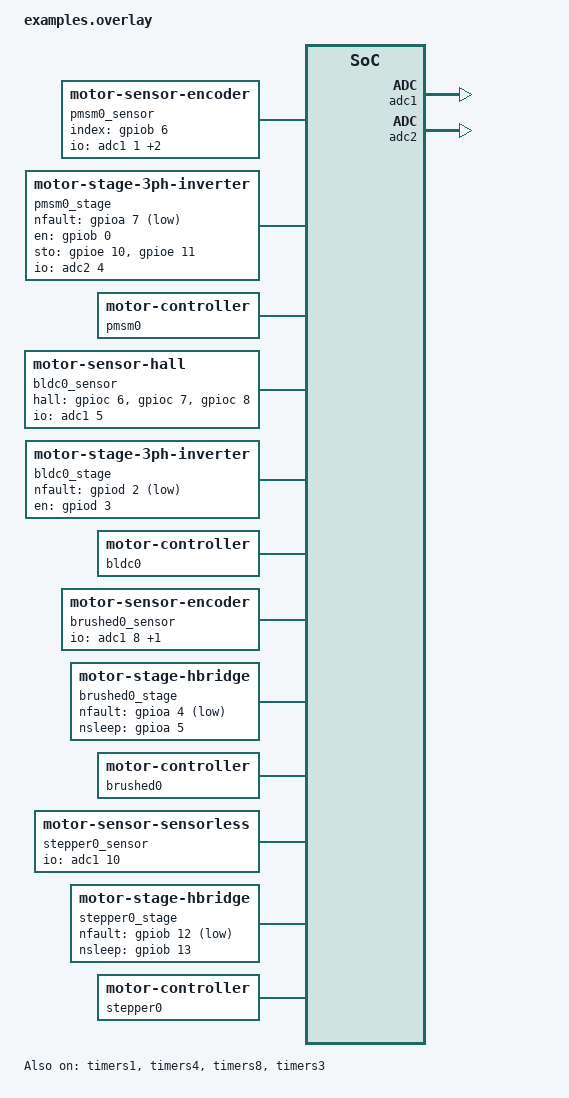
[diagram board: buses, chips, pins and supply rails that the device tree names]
/*
 * Copyright (c) 2026 Zephyr Motor Control Contributors
 * SPDX-License-Identifier: Apache-2.0
 *
 * Motor control DTS overlay examples
 * ===================================
 * Four complete hardware configurations demonstrating the
 * sensor + stage + controller node hierarchy:
 *
 *   Example 1 — PMSM FOC,        STM32G474,  quad encoder,  3-shunt ADC
 *   Example 2 — BLDC 6-step/FOC, STM32G474,  Hall × 3,      DC-link shunt
 *   Example 3 — DC brushed,      STM32G031,  quad encoder,  1-shunt ADC
 *   Example 4 — Stepper,         STM32F405,  step counter,  StallGuard
 */

/* ================================================================
 * Example 1 — PMSM FOC, STM32G474
 *   Sensor  : quadrature encoder TIM4, 3-shunt ADC1 HW-triggered
 *   Stage   : TIM1 3-phase complementary PWM, DRV8353 gate driver
 *   Algorithm: foc, 4 pole pairs, 20 kHz current loop
 * ================================================================ */
/ {
	pmsm0_sensor: motor-sensor-pmsm0 {
		compatible = "zephyr,motor-sensor-encoder";
		status     = "okay";

		encoder-timer = <&timers4>;
		encoder-cpr   = <4096>;       /* 1024 CPR × 4 quadrature   */
		pole-pairs    = <4>;

		index-gpio    = <&gpiob 6 GPIO_ACTIVE_HIGH>;

		io-channels      = <&adc1 1>, <&adc1 2>, <&adc1 3>;
		io-channel-names = "i_phase_a", "i_phase_b", "i_phase_c";

		/* STM32G4: TIM1 update event → ADC1 injected group trigger */
		adc-trigger-event = <0x00000001>;
	};

	pmsm0_stage: motor-stage-pmsm0 {
		compatible = "zephyr,motor-stage-3ph-inverter";
		status     = "okay";

		pwm-u = <&timers1>;           /* TIM1 CH1 / CH1N — phase U */
		pwm-v = <&timers1>;           /* TIM1 CH2 / CH2N — phase V */
		pwm-w = <&timers1>;           /* TIM1 CH3 / CH3N — phase W */

		pwm-frequency       = <20000>;
		deadtime-rising-ns  = <500>;
		deadtime-falling-ns = <500>;

		nfault-gpios = <&gpioa 7 (GPIO_ACTIVE_LOW  | GPIO_PULL_UP)>;
		en-gpios     = <&gpiob 0 GPIO_ACTIVE_HIGH>;
		sto-gpios    = <&gpioe 10 GPIO_ACTIVE_HIGH>,
		               <&gpioe 11 GPIO_ACTIVE_HIGH>;

		io-channels      = <&adc2 4>;
		io-channel-names = "v_bus";

		vbus-nominal-mv   = <24000>;
		vbus-ov-thresh-mv = <30000>;
		vbus-uv-thresh-mv = <18000>;
		i-peak-limit-ma   = <15000>;
	};

	pmsm0: motor-controller-pmsm0 {
		compatible = "zephyr,motor-controller";
		status     = "okay";

		sensor   = <&pmsm0_sensor>;
		actuator = <&pmsm0_stage>;

		algorithm  = "foc";
		pole-pairs = <4>;

		current-loop-rate-hz  = <20000>;
		speed-loop-rate-hz    = <1000>;
		position-loop-rate-hz = <200>;
		supervision-rate-hz   = <50>;

		i-max-ma              = <10000>;
		speed-max-rpm         = <3000>;
		temp-derating-start-dc = <8000>;
		temp-fault-dc          = <10000>;

		rs-mohm          = <85>;      /* 85 mΩ stator resistance   */
		ld-uh            = <540>;     /* 540 µH d-axis inductance  */
		lq-uh            = <620>;     /* 620 µH q-axis inductance  */
		flux-linkage-uwb = <12500>;   /* 12.5 mWb PM flux linkage  */
		pole-pairs       = <4>;

		settings-key = "motor/pmsm0";
	};
};

&timers1 {
	status = "okay";
	st,prescaler = <0>;
};

&timers4 {
	status = "okay";
	st,prescaler = <0>;
};

&adc1 {
	status = "okay";
	#io-channel-cells = <1>;
};

&adc2 {
	status = "okay";
	#io-channel-cells = <1>;
};


/* ================================================================
 * Example 2 — BLDC FOC with Hall sensors, STM32G474
 *   Sensor  : Hall × 3 on GPIOC[6:8], DC-link single shunt ADC1
 *   Stage   : TIM8 3-phase complementary PWM, DRV8302
 *   Algorithm: foc (or "6step" for trapezoidal), 7 pole pairs
 * ================================================================ */
/ {
	bldc0_sensor: motor-sensor-bldc0 {
		compatible = "zephyr,motor-sensor-hall";
		status     = "okay";

		hall-gpios = <&gpioc 6 GPIO_ACTIVE_HIGH>,   /* H_U */
		             <&gpioc 7 GPIO_ACTIVE_HIGH>,   /* H_V */
		             <&gpioc 8 GPIO_ACTIVE_HIGH>;   /* H_W */
		pole-pairs = <7>;

		io-channels      = <&adc1 5>;
		io-channel-names = "i_phase_a"; /* single shunt, Ib/Ic reconstructed */
		adc-trigger-event = <0x00000002>; /* TIM8_TRGO */
	};

	bldc0_stage: motor-stage-bldc0 {
		compatible = "zephyr,motor-stage-3ph-inverter";
		status     = "okay";

		pwm-u = <&timers8>;
		pwm-v = <&timers8>;
		pwm-w = <&timers8>;

		pwm-frequency       = <16000>;
		deadtime-rising-ns  = <750>;
		deadtime-falling-ns = <750>;

		nfault-gpios = <&gpiod 2 (GPIO_ACTIVE_LOW | GPIO_PULL_UP)>;
		en-gpios     = <&gpiod 3 GPIO_ACTIVE_HIGH>;

		vbus-nominal-mv   = <24000>;
		vbus-ov-thresh-mv = <30000>;
		vbus-uv-thresh-mv = <18000>;
		i-peak-limit-ma   = <20000>;
	};

	bldc0: motor-controller-bldc0 {
		compatible = "zephyr,motor-controller";
		status     = "okay";

		sensor   = <&bldc0_sensor>;
		actuator = <&bldc0_stage>;

		algorithm  = "foc";         /* change to "6step" for trapezoidal */
		pole-pairs = <7>;

		current-loop-rate-hz  = <16000>;
		speed-loop-rate-hz    = <1000>;
		position-loop-rate-hz = <0>;    /* disabled — speed mode only */
		supervision-rate-hz   = <50>;

		i-max-ma      = <18000>;
		speed-max-rpm = <3000>;

		rs-mohm          = <120>;
		ld-uh            = <380>;
		lq-uh            = <380>;     /* isotropic SPM */
		flux-linkage-uwb = <9800>;

		settings-key = "motor/bldc0";
	};
};

&timers8 {
	status = "okay";
	st,prescaler = <0>;
};


/* ================================================================
 * Example 3 — DC brushed motor, STM32G031, H-bridge, DRV8833
 *   Sensor  : 500 CPR quad encoder TIM3, single inline shunt ADC1
 *   Stage   : TIM1 PWM left/right half-bridge, DRV8833
 *   Algorithm: openloop (or "foc" with pole-pairs=1)
 * ================================================================ */
/ {
	brushed0_sensor: motor-sensor-brushed0 {
		compatible = "zephyr,motor-sensor-encoder";
		status     = "okay";

		encoder-timer = <&timers3>;
		encoder-cpr   = <2000>;       /* 500 CPR × 4 quadrature    */
		pole-pairs    = <1>;          /* brushed: no Park transform */

		io-channels      = <&adc1 8>, <&adc1 9>;
		io-channel-names = "i_phase_a", "v_bus";
	};

	brushed0_stage: motor-stage-brushed0 {
		compatible = "zephyr,motor-stage-hbridge";
		status     = "okay";

		pwm-left  = <&pwm1 0 PWM_KHZ(20) PWM_POLARITY_NORMAL>;
		pwm-right = <&pwm1 1 PWM_KHZ(20) PWM_POLARITY_NORMAL>;

		nfault-gpios = <&gpioa 4 (GPIO_ACTIVE_LOW | GPIO_PULL_UP)>;
		nsleep-gpios = <&gpioa 5 GPIO_ACTIVE_HIGH>;

		pwm-frequency           = <20000>;
		deadtime-ns             = <0>;  /* DRV8833 handles dead-time */
		vbus-fault-threshold-mv = <15000>;
	};

	brushed0: motor-controller-brushed0 {
		compatible = "zephyr,motor-controller";
		status     = "okay";

		sensor   = <&brushed0_sensor>;
		actuator = <&brushed0_stage>;

		algorithm  = "openloop";
		pole-pairs = <1>;

		current-loop-rate-hz  = <20000>;
		speed-loop-rate-hz    = <1000>;
		position-loop-rate-hz = <200>;
		supervision-rate-hz   = <50>;

		i-max-ma      = <5000>;
		speed-max-rpm = <4000>;

		settings-key = "motor/brushed0";
	};
};

&timers3 {
	status = "okay";
	st,prescaler = <0>;
};


/* ================================================================
 * Example 4 — Stepper motor, STM32F405, TMC2209 (StallGuard)
 *   Sensor  : step counter + StallGuard DIAG (pseudo-current)
 *   Stage   : TIM2 step/dir PWM, dual H-bridge inside TMC2209
 *   Algorithm: stepdir, 50 pole pairs (1.8° stepper)
 * ================================================================ */
/ {
	stepper0_sensor: motor-sensor-stepper0 {
		compatible = "zephyr,motor-sensor-sensorless";
		status     = "okay";

		/* StallGuard DIAG output mapped as pseudo-current channel */
		io-channels      = <&adc1 10>;
		io-channel-names = "i_phase_a";

		pole-pairs    = <50>;         /* 1.8° stepper: 50 pole pairs */
		observer-type = "bemf-pu";    /* StallGuard uses BEMF loading */
		rs-mohm       = <500>;
		ld-uh         = <1500>;
		lq-uh         = <1500>;
	};

	stepper0_stage: motor-stage-stepper0 {
		compatible = "zephyr,motor-stage-hbridge";
		status     = "okay";

		/* STEP pulse via PWM; DIR via second PWM channel polarity */
		pwm-left  = <&pwm2 0 PWM_NSEC(500) PWM_POLARITY_NORMAL>;
		pwm-right = <&pwm2 1 PWM_NSEC(500) PWM_POLARITY_NORMAL>;

		nfault-gpios = <&gpiob 12 (GPIO_ACTIVE_LOW | GPIO_PULL_UP)>;
		nsleep-gpios = <&gpiob 13 GPIO_ACTIVE_HIGH>;

		pwm-frequency           = <200000>; /* microstep clock ≤ 200 kHz */
		deadtime-ns             = <0>;
		vbus-fault-threshold-mv = <15000>;
	};

	stepper0: motor-controller-stepper0 {
		compatible = "zephyr,motor-controller";
		status     = "okay";

		sensor   = <&stepper0_sensor>;
		actuator = <&stepper0_stage>;

		algorithm  = "stepdir";
		pole-pairs = <50>;

		current-loop-rate-hz  = <200000>; /* microstep rate        */
		speed-loop-rate-hz    = <1000>;
		position-loop-rate-hz = <200>;
		supervision-rate-hz   = <50>;

		i-max-ma      = <1800>;
		speed-max-rpm = <600>;

		settings-key = "motor/stepper0";
	};
};
